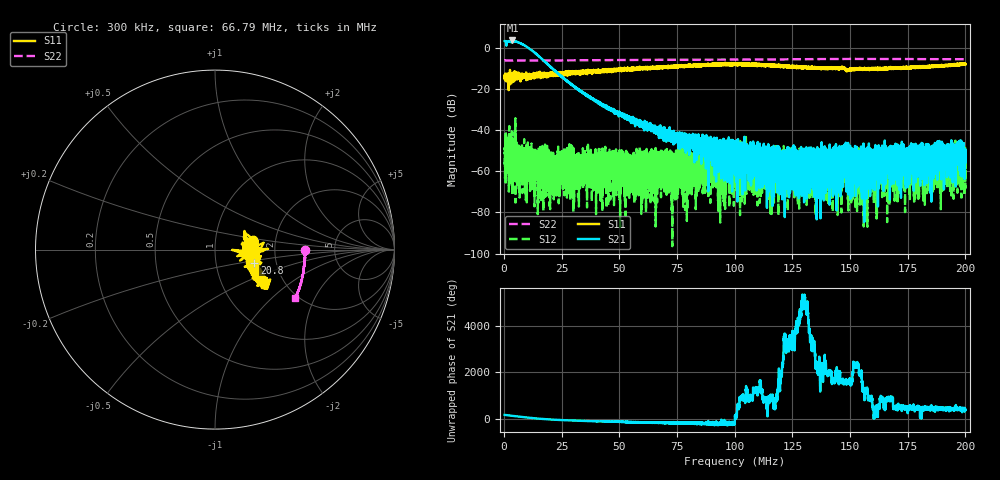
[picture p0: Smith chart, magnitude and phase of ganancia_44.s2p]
# Hz S DB R 50
! CMT, M5065, 19127446, 24.2.4/2
! Date: 11/8/2024 6:44:03 PM
! Data: Format (Calibration Info)
! Freq	S11:dB/Ang(F2)	S21:dB/Ang(F2)	S12:dB/Ang(F2)	S22:dB/Ang(F2)
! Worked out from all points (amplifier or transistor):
!   9000 points, 300 kHz to 200 MHz, reference 50 ohm
!   highest |S21| = 3.8 dB at 3.717 MHz (marker M1)
!   |S21| within 3 dB of that: start of sweep to 9.767 MHz
!   unconditionally stable (mu >= 1): start of sweep to end of sweep
!   at 33.59 MHz: K = 3956.92, MAG = -19.5 dB, |S12| = -60.1 dB
!   at 100.2 MHz: K = 57855.56, MAG = -49.0 dB, |S12| = -54.5 dB
!   at 200 MHz: K = 54453.53, MAG = -53.7 dB, |S12| = -49.3 dB
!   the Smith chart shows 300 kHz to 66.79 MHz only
!   S11 on the Smith chart (normalised r, x): 300 kHz: 1.53, +0.17; 20.8 MHz: 1.54, -0.24; 66.79 MHz: 1.57, -0.70
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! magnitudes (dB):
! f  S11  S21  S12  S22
! 300 kHz  -13.2  3.4  -48.1  -6.0
! 3.717 MHz  -13.7  3.8  -50.0  -6.0
! 10.44 MHz  -13.6  0.3  -58.2  -6.0
! 20.8 MHz  -12.7  -9.7  -64.3  -5.9
! 33.59 MHz  -11.2  -21.1  -60.1  -5.9
! 66.79 MHz  -9.4  -39.8  -52.2  -5.6
! 66.87 MHz  -9.0  -40.7  -60.9  -5.7
! 100.2 MHz  -7.8  -51.2  -54.5  -5.6
! 118 MHz  -8.9  -49.3  -53.3  -5.5
! 121.5 MHz  -9.0  -59.3  -55.9  -5.4
! 124.3 MHz  -8.9  -57.2  -53.6  -5.4
! 130.3 MHz  -9.1  -52.8  -59.6  -5.3
! 133.4 MHz  -9.5  -62.5  -58.9  -5.3
! 143.5 MHz  -9.9  -61.8  -67.1  -5.2
! 148.2 MHz  -10.6  -50.5  -54.2  -5.2
! 150.8 MHz  -10.1  -54.4  -52.6  -5.2
! 166.7 MHz  -9.9  -51.1  -55.4  -5.2
! 172.5 MHz  -9.7  -45.6  -64.5  -5.3
! 182.5 MHz  -9.0  -48.5  -58.5  -5.3
! 187.9 MHz  -8.4  -53.2  -58.5  -5.3
! 198.7 MHz  -7.5  -50.3  -52.7  -5.4
! 200 MHz  -7.9  -55.9  -49.3  -5.4
